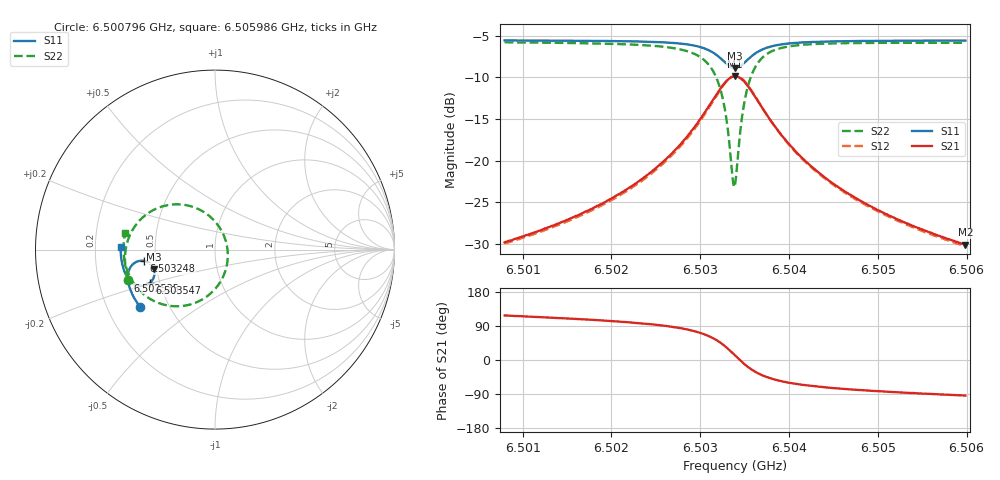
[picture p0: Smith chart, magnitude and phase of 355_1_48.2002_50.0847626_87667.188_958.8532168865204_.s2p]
#  HZ  S  RI  R  50.00
! Rohde & Schwarz Vector Network Analyzer
! Rohde-Schwarz,ZNB20-2Port,1311601062101988,3.16
! Created: UTC 3/20/2024, 11:51:57 AM
! freq[Hz]  re:S11  im:S11  re:S21  im:S21  re:S12  im:S12  re:S22  im:S22
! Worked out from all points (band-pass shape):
!   401 points, 6.500796 GHz to 6.505986 GHz, reference 50 ohm
!   highest |S21| = -9.87 dB at 6.503391 GHz (marker M1); lowest = -30.1 dB at 6.505986 GHz (marker M2)
!   |S21| within 3 dB of the highest: 6.503132 GHz to 6.503651 GHz (518.8 kHz wide, 0.00798 % of centre)
!   lowest |S11| = -8.9 dB at 6.503391 GHz (marker M3), VSWR 2.11, Z = 24.1 - j6.1 ohm
!   |S11| at or under -10 dB: nowhere
!   |S22| runs from -23.1 to -5.8 dB; largest |S21 - S12| = 0.011
!   S11 on the Smith chart (normalised r, x): 6.500796 GHz: 0.34, -0.30; 6.502535 GHz: 0.33, -0.15; 6.503248 GHz: 0.43, -0.06; 6.503547 GHz: 0.44, -0.20; 6.505986 GHz: 0.31, +0.01
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6.500796e9  -0.4193 -0.3186  -0.0149 0.0288  -0.0134 0.0289  -0.4854 -0.168
6.5016654e9  -0.4577 -0.2557  -0.0146 0.0461  -0.0122 0.0456  -0.501 -0.078
6.5021585e9  -0.4754 -0.2127  -0.0117 0.0657  -0.00875 0.0647  -0.4991 -0.0099
6.5025348e9  -0.485 -0.1721  -0.00334 0.0937  0.000309 0.0914  -0.4816 0.0626
6.5027943e9  -0.4847 -0.1353  0.0151 0.1277  0.0188 0.124  -0.4428 0.1349
6.5029759e9  -0.4737 -0.1022  0.0492 0.1633  0.0523 0.158  -0.3759 0.2007
6.5031446e9  -0.4397 -0.0693  0.1251 0.1963  0.1265 0.19  -0.2361 0.2515
6.5032484e9  -0.3978 -0.0623  0.2092 0.1881  0.2094 0.1827  -0.0902 0.2248
6.5033003e9  -0.3727 -0.0704  0.2567 0.1607  0.2574 0.1561  -0.0112 0.1688
6.5033652e9  -0.3465 -0.0961  0.3037 0.0988  0.3061 0.0936  0.0597 0.0495
6.5033912e9  -0.3402 -0.1103  0.3138 0.0671  0.3168 0.0614  0.0706 -0.00905
6.5034041e9  -0.3383 -0.1178  0.3165 0.0508  0.3197 0.0445  0.0714 -0.039
6.503456e9  -0.3392 -0.148  0.3114 -0.0134  0.314 -0.0221  0.0442 -0.153
6.503482e9  -0.3441 -0.1617  0.3004 -0.0418  0.3022 -0.0517  0.0156 -0.2009
6.5035469e9  -0.3647 -0.187  0.2588 -0.095  0.2575 -0.1059  -0.0781 -0.2819
6.5036507e9  -0.4034 -0.2016  0.1859 -0.1307  0.1807 -0.1398  -0.2246 -0.3156
6.5038193e9  -0.4486 -0.192  0.1062 -0.128  0.0994 -0.1329  -0.3683 -0.2706
6.504001e9  -0.4757 -0.1707  0.0627 -0.1088  0.0567 -0.1109  -0.4388 -0.2072
6.5042605e9  -0.4961 -0.1405  0.0334 -0.0854  0.0287 -0.0858  -0.4815 -0.1361
6.5046757e9  -0.5124 -0.0982  0.0139 -0.0615  0.0107 -0.0612  -0.5043 -0.0578
6.5051299e9  -0.5211 -0.0568  0.00474 -0.0467  0.0027 -0.046  -0.5097 0.00384
6.5059863e9  -0.5258 0.0152  -0.0021 -0.0313  -0.00336 -0.0306  -0.5013 0.0925
